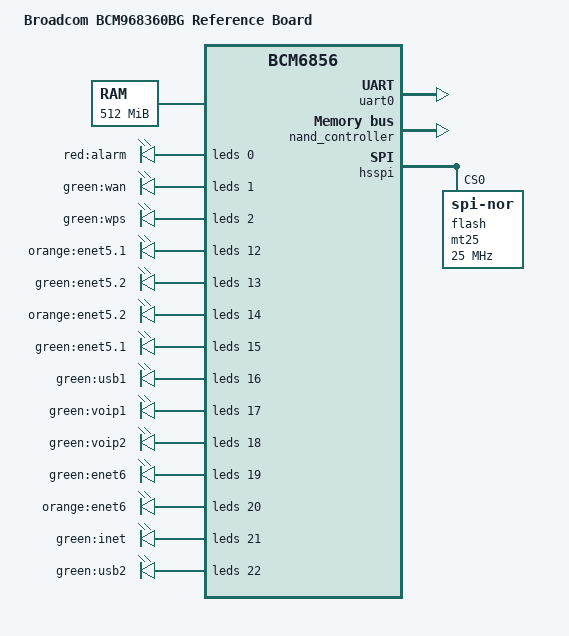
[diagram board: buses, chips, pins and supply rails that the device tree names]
// SPDX-License-Identifier: GPL-2.0+
/*
 * Copyright (C) 2020 Philippe Reynes <philippe.reynes@softathome.com>
 */

/dts-v1/;

#include "bcm6856.dtsi"

/ {
	model = "Broadcom BCM968360BG Reference Board";
	compatible = "brcm,bcm968360bg", "brcm,bcm6856", "brcm,bcmbca";

	aliases {
		serial0 = &uart0;
	};

	chosen {
		stdout-path = "serial0:115200n8";
	};

	memory {
		device_type = "memory";
		reg = <0x0 0x0 0x0 0x20000000>;
	};
};

&uart0 {
	bootph-all;
	status = "okay";
};

&gpio0 {
	status = "okay";
};

&gpio1 {
	status = "okay";
};

&gpio2 {
	status = "okay";
};

&gpio3 {
	status = "okay";
};

&gpio4 {
	status = "okay";
};

&gpio5 {
	status = "okay";
};

&gpio6 {
	status = "okay";
};

&gpio7 {
	status = "okay";
};

&nand_controller {
	brcm,wp-not-connected;
	status = "okay";
};

&nandcs {
	nand-ecc-strength = <4>;
	nand-ecc-step-size = <512>;
	brcm,nand-oob-sector-size = <16>;
};

&leds {
	status = "okay";
	#address-cells = <1>;
	#size-cells = <0>;
	brcm,serial-led-en-pol;
	brcm,serial-led-data-ppol;

	led@0 {
		reg = <0>;
		label = "red:alarm";
	};

	led@1 {
		reg = <1>;
		label = "green:wan";
	};

	led@2 {
		reg = <2>;
		label = "green:wps";
	};

	led@12 {
		reg = <12>;
		label = "orange:enet5.1";
	};

	led@13 {
		reg = <13>;
		label = "green:enet5.2";
	};

	led@14 {
		reg = <14>;
		label = "orange:enet5.2";
	};

	led@15 {
		reg = <15>;
		label = "green:enet5.1";
	};

	led@16 {
		reg = <16>;
		label = "green:usb1";
	};

	led@17 {
		reg = <17>;
		label = "green:voip1";
	};

	led@18 {
		reg = <18>;
		label = "green:voip2";
	};

	led@19 {
		reg = <19>;
		label = "green:enet6";
	};

	led@20 {
		reg = <20>;
		label = "orange:enet6";
	};

	led@21 {
		reg = <21>;
		label = "green:inet";
	};

	led@22 {
		reg = <22>;
		label = "green:usb2";
	};
};

&hsspi {
	status = "okay";

	flash: mt25@0 {
		compatible = "jedec,spi-nor";
		#address-cells = <1>;
		#size-cells = <1>;
		reg = <0>;
		spi-max-frequency = <25000000>;
	};
};
